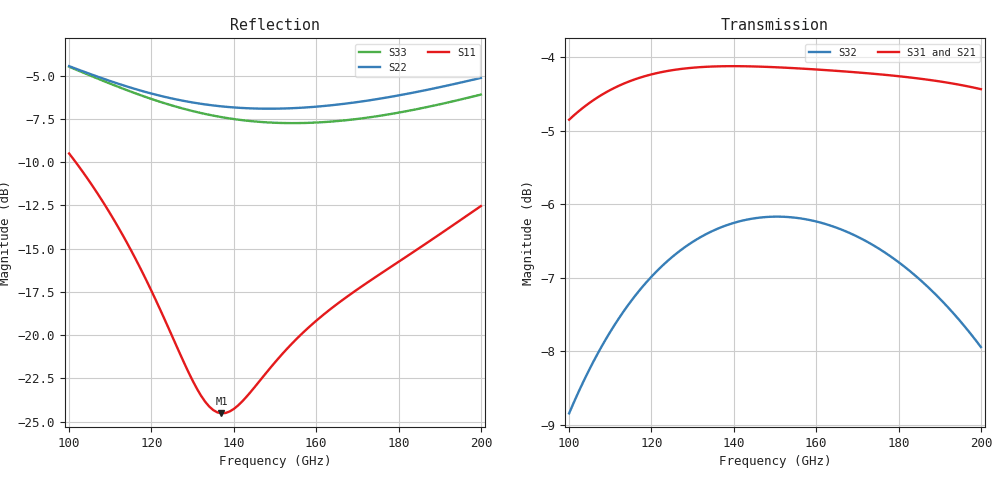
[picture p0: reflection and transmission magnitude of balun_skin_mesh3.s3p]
! Created with skrf 2.1.0 (http://scikit-rf.org).
# GHz S DB R 50.0
! Port[1] = P1
! Port[2] = P2
! Port[3] = P3
!freq dBS11 angS11 dBS12 angS12 dBS13 angS13
! dBS21 angS21 dBS22 angS22 dBS23 angS23
! dBS31 angS31 dBS32 angS32 dBS33 angS33
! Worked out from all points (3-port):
!   101 points, 100 GHz to 200 GHz, reference 50 ohm
!   strongest paths, dB at 100 GHz, 125 GHz, 150 GHz, 175 GHz, 200 GHz:
!     S31: -4.8, -4.2, -4.1, -4.2, -4.4
!     S21: -4.6, -4.0, -4.1, -4.4, -4.9
!     S32: -8.8, -6.7, -6.2, -6.6, -7.9
!   lowest |S11| = -24.5 dB at 137 GHz (marker M1), VSWR 1.13, Z = 44.5 + j1.27 ohm
!   |S11| at or under -10 dB: 101.6 GHz to end of sweep
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100  -9.51 130.6  -4.57 -13.9  -4.85 162.1
     -4.57 -13.9  -4.46 59.7  -8.84 90.1
     -4.85 162.1  -8.84 90.1  -4.49 48.8
109  -12.60 121.9  -4.25 -28.2  -4.47 146.8
     -4.25 -28.2  -5.24 51.4  -7.83 76.0
     -4.47 146.8  -7.83 76.0  -5.38 39.0
119  -16.95 119.3  -4.08 -43.0  -4.25 131.0
     -4.08 -43.0  -5.98 43.4  -7.05 61.0
     -4.25 131.0  -7.05 61.0  -6.27 29.4
131  -23.09 140.2  -4.04 -59.5  -4.14 113.3
     -4.04 -59.5  -6.60 34.8  -6.48 44.3
     -4.14 113.3  -6.48 44.3  -7.11 19.4
137  -24.52 166.2  -4.06 -67.2  -4.12 105.0
     -4.06 -67.2  -6.78 30.6  -6.31 36.4
     -4.12 105.0  -6.31 36.4  -7.40 14.7
141  -24.08 -177.3  -4.08 -72.3  -4.12 99.5
     -4.08 -72.3  -6.86 27.8  -6.24 31.2
     -4.12 99.5  -6.24 31.2  -7.55 11.7
150  -21.58 -156.4  -4.15 -83.3  -4.13 87.7
     -4.15 -83.3  -6.92 21.3  -6.17 19.9
     -4.13 87.7  -6.17 19.9  -7.73 4.9
162  -18.78 -147.0  -4.26 -97.6  -4.17 72.4
     -4.26 -97.6  -6.76 12.1  -6.26 5.4
     -4.17 72.4  -6.26 5.4  -7.69 -4.3
174  -16.72 -143.5  -4.40 -111.7  -4.22 57.5
     -4.40 -111.7  -6.39 2.2  -6.56 -8.8
     -4.22 57.5  -6.56 -8.8  -7.38 -14.0
200  -12.54 -144.4  -4.89 -142.8  -4.43 24.7
     -4.89 -142.8  -5.14 -22.1  -7.94 -39.1
     -4.43 24.7  -7.94 -39.1  -6.10 -37.3
